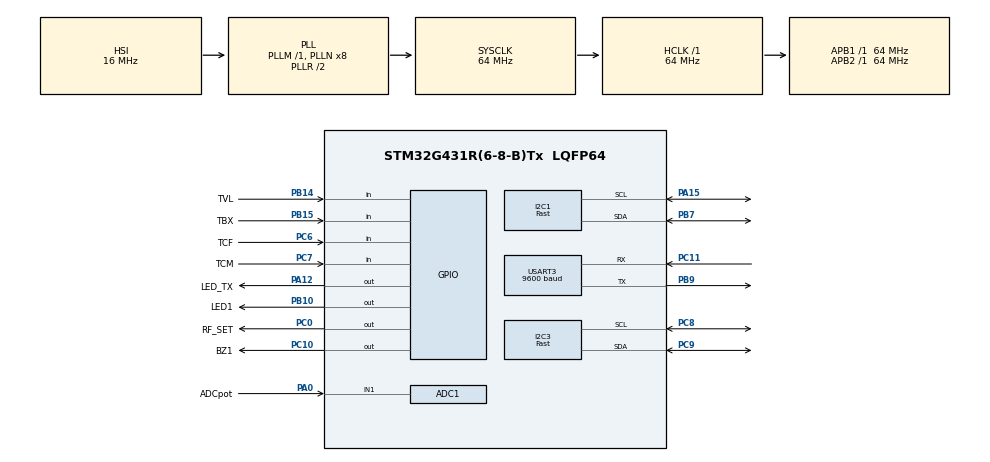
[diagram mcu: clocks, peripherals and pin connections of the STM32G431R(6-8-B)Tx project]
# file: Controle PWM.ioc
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ADC1.Channel-0\#ChannelRegularConversion=ADC_CHANNEL_1
ADC1.ContinuousConvMode=ENABLE
ADC1.DMAContinuousRequests=ENABLE
ADC1.EOCSelection=ADC_EOC_SEQ_CONV
ADC1.NbrOfConversion=1
ADC1.NbrOfConversionFlag=1
ADC1.OffsetNumber-0\#ChannelRegularConversion=ADC_OFFSET_NONE
ADC1.Rank-0\#ChannelRegularConversion=1
ADC1.SamplingTime-0\#ChannelRegularConversion=ADC_SAMPLETIME_247CYCLES_5
ADC1.master=1
Dma.ADC1.0.Direction=DMA_PERIPH_TO_MEMORY
Dma.ADC1.0.EventEnable=DISABLE
Dma.ADC1.0.Instance=DMA1_Channel1
Dma.ADC1.0.MemDataAlignment=DMA_MDATAALIGN_HALFWORD
Dma.ADC1.0.MemInc=DMA_MINC_ENABLE
Dma.ADC1.0.Mode=DMA_CIRCULAR
Dma.ADC1.0.PeriphDataAlignment=DMA_PDATAALIGN_HALFWORD
Dma.ADC1.0.PeriphInc=DMA_PINC_DISABLE
Dma.ADC1.0.Polarity=HAL_DMAMUX_REQ_GEN_RISING
Dma.ADC1.0.Priority=DMA_PRIORITY_LOW
Dma.ADC1.0.RequestNumber=1
Dma.ADC1.0.SignalID=NONE
Dma.ADC1.0.SyncEnable=DISABLE
Dma.ADC1.0.SyncPolarity=HAL_DMAMUX_SYNC_NO_EVENT
Dma.ADC1.0.SyncRequestNumber=1
Dma.ADC1.0.SyncSignalID=NONE
Dma.Request0=ADC1
I2C1.I2C_Speed_Mode=I2C_Fast
I2C1.Timing=0x00602173
I2C3.I2C_Speed_Mode=I2C_Fast
I2C3.Timing=0x00602173
Mcu.Family=STM32G4
Mcu.Name=STM32G431R(6-8-B)Tx
Mcu.Package=LQFP64
NVIC.DMA1_Channel1_IRQn=true\:0\:0\:false\:false\:true\:false\:true\:true
NVIC.PriorityGroup=NVIC_PRIORITYGROUP_4
NVIC.TIM3_IRQn=true\:2\:0\:true\:false\:true\:true\:true\:true
NVIC.USART3_IRQn=true\:0\:0\:false\:false\:true\:true\:true\:true
PA0.GPIO_Label=ADCpot
PA0.Mode=IN1-Single-Ended
PA0.Signal=ADC1_IN1
PA12.GPIO_Label=LED_TX
PA12.GPIO_Speed=GPIO_SPEED_FREQ_VERY_HIGH
PA12.PinState=GPIO_PIN_SET
PA12.Signal=GPIO_Output
PA13.Mode=Serial_Wire
PA13.Signal=SYS_JTMS-SWDIO
PA14.Mode=Serial_Wire
PA14.Signal=SYS_JTCK-SWCLK
PA15.Mode=I2C
PA15.Signal=I2C1_SCL
PB10.GPIO_Label=LED1
PB10.GPIO_ModeDefaultOutputPP=GPIO_MODE_OUTPUT_OD
PB10.GPIO_PuPd=GPIO_NOPULL
PB10.GPIO_Speed=GPIO_SPEED_FREQ_HIGH
PB10.Signal=GPIO_Output
PB10.Stacked=true
PB14.GPIO_Label=TVL
PB14.GPIO_PuPd=GPIO_PULLUP
PB14.Signal=GPIO_Input
PB15.GPIO_Label=TBX
PB15.GPIO_PuPd=GPIO_PULLUP
PB15.Signal=GPIO_Input
PB7.Mode=I2C
PB7.Signal=I2C1_SDA
PB9.Mode=Asynchronous
PB9.Signal=USART3_TX
PC0.GPIO_Label=RF_SET
PC0.Signal=GPIO_Output
PC10.GPIO_Label=BZ1
PC10.GPIO_Speed=GPIO_SPEED_FREQ_VERY_HIGH
PC10.Signal=GPIO_Output
PC11.Mode=Asynchronous
PC11.Signal=USART3_RX
PC6.GPIO_Label=TCF
PC6.GPIO_PuPd=GPIO_PULLUP
PC6.Signal=GPIO_Input
PC7.GPIO_Label=TCM
PC7.GPIO_PuPd=GPIO_PULLUP
PC7.Signal=GPIO_Input
PC8.Mode=I2C
PC8.Signal=I2C3_SCL
PC9.Mode=I2C
PC9.Signal=I2C3_SDA
ProjectManager.HeapSize=0x200
ProjectManager.StackSize=0x600
ProjectManager.TargetToolchain=STM32CubeIDE
RCC.ADC12Freq_Value=64000000
RCC.AHBFreq_Value=64000000
RCC.APB1Freq_Value=64000000
RCC.APB1TimFreq_Value=64000000
RCC.APB2Freq_Value=64000000
RCC.APB2TimFreq_Value=64000000
RCC.CortexFreq_Value=64000000
RCC.EXTERNAL_CLOCK_VALUE=12288000
RCC.HCLKFreq_Value=64000000
RCC.HSE_VALUE=8000000
RCC.HSI48_VALUE=48000000
RCC.HSI_VALUE=16000000
RCC.RCC_MCO1Source=RCC_MCO1SOURCE_LSE
RCC.SYSCLKFreq_VALUE=64000000
RCC.SYSCLKSource=RCC_SYSCLKSOURCE_PLLCLK
RCC.USBFreq_Value=64000000
RCC.VCOOutputFreq_Value=128000000
TIM3.PeriodNoDither=239
TIM3.Prescaler=199
USART3.BaudRate=9600
USART3.VirtualMode-Asynchronous=VM_ASYNC
VP_SYS_VS_DBSignals.Mode=DisableDeadBatterySignals
VP_TIM3_VS_ClockSourceINT.Mode=Internal
board=custom

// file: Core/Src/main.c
/* USER CODE BEGIN Header */
/**
  ******************************************************************************
  * @file           : main.c
  * @brief          : Main program body
  ******************************************************************************
  * @attention
  *
  * Copyright (c) 2024 STMicroelectronics.
  * All rights reserved.
  *
  * This software is licensed under terms that can be found in the LICENSE file
  * in the root directory of this software component.
  * If no LICENSE file comes with this software, it is provided AS-IS.
  *
  ******************************************************************************
  */
/* USER CODE END Header */
#include "main.h"

/* USER CODE BEGIN Includes */
#include <stdint.h>
#include <stdio.h>
#include <string.h>
#include <OLED_Fonts.h>
#include <OLED_Icons.h>
#include <OLED.h>
#include <eeprom.h>
/* USER CODE END Includes */

/* USER CODE BEGIN PD */
#define NUMAMOSTRAS 50
#define ADREF 4095
/* USER CODE END PD */

ADC_HandleTypeDef hadc1;
DMA_HandleTypeDef hdma_adc1;

I2C_HandleTypeDef hi2c1;
I2C_HandleTypeDef hi2c3;

TIM_HandleTypeDef htim3;

UART_HandleTypeDef huart3;

/* USER CODE BEGIN PV */

/**********************************************************************************/
/*          ESTRUTURAS DE CONSTANTES PARA IDENTIFICAÇÃO DE TECLAS                 */
/**********************************************************************************/
typedef enum{
	OK = 1,
	BCK,
	UP,
	DW,
}tecla;

/*---------UINT8_T---------*/
uint8_t sentido,
/*----*/flagADC,
/*----*/flagUART,
/*----*/uartvpot,
/*----*/uartvpot_old,
/*----*/flagtransmit,
/*----*/flag_com[4] = {0},
/*----*/initp = 0,
/*----*/pacote_completo,
/*----*/rx_init,
/*----*/remote,
/*----*/byte_cont,
/*----*/power,
/*----*/potencia,
/*----*/pacote_completo,
/*----*/cmd_completo,
/*----*/flag_bt,
/*----*/deboucing,
/*----*/flagespera = 0;

/*---------UINT16_T---------*/
uint16_t register_cont,
/*-----*/adc_buffer[50] = {0},
/*-----*/timer_teste[4] = {0},
/*-----*/cont[8] = {0};

/*---------UINT32_T---------*/
/*uint32_t analog_pot = 0;*/ /*VIROU VAR LOCAL*/

/*---------CHAR----------*/
char data_rx_buff[50];
char rcv_byte;
char stt;
/* USER CODE END PV */

void SystemClock_Config(void);
static void MX_GPIO_Init(void);
static void MX_DMA_Init(void);
static void MX_I2C3_Init(void);
static void MX_TIM3_Init(void);
static void MX_USART3_UART_Init(void);
static void MX_I2C1_Init(void);
static void MX_ADC1_Init(void);
void trata_teclas(void);
void trata_tela(void);
void beep(void);
uint8_t mediaADC(uint32_t n);
void transmite_UART(void);
void initdisp(void);
void init_VARS(void);
void trata_rx(void);

/* USER CODE BEGIN 0 */
void HAL_ADC_ConvCpltCallback(ADC_HandleTypeDef* hadc){
	flagADC = 1;												//QUANDO ACABAR UMA CONVERSÃO A A INTERRUPÇÃO IR�? DIRECIONAR PARA ESSE CALLBACK
}
void HAL_UART_RxCpltCallback(UART_HandleTypeDef *huart){
	if(huart->Instance == USART3) {
		if(rcv_byte == '(' || rcv_byte == '['){					/**VERIFICA PRIMEIRO BYTE RECEBIDO, SE É OU NOA DE UM PACOTE PADRÃO**/
			rx_init = 1;
			byte_cont = 0;
			memset(data_rx_buff, 0x00, sizeof(data_rx_buff));
		}
		if(rcv_byte == ')'){									/*VERIFICA SE CHEGOU AO FIM DO PACOTE*/
			pacote_completo = 1;
		}
		if(rcv_byte == ']'){									/*VERIFICA SE CHEGOU AO FIM DO PACOTE*/
			cmd_completo = 1;
		}
		if(byte_cont >= 45)										/*VERIFICA SE O PACOTE PASSOU DO LIMITE ESPERADO*/
			byte_cont = 45;

		if(rx_init)												/*SE O PACOTE É VALIDO, ALOCA OS BITS NO BUFFER*/
		{
			data_rx_buff[byte_cont] = rcv_byte;
			byte_cont++;

			if(rcv_byte == ')' || rcv_byte == ']')				/*SE O PACOTE TERMINOU RESETA A VAR DO INDEXADOR DO BUFFER*/
				rx_init = 0;
		}
		/*TRIGGER RX*/
		if(!pacote_completo || !cmd_completo){
			HAL_UART_Receive_IT(&huart3, (uint8_t*)&rcv_byte, sizeof(rcv_byte));	/*RECEBE UM BYTE*/
		}
	}
}
void HAL_TIM_PeriodElapsedCallback(TIM_HandleTypeDef * htim){//ENDEREÇO DE HTIM COMO PARAMETRO
	if(htim->Instance == TIM3){
		timer_teste[0]++;
		cont[0]++;
		if(flag_com[0])cont[6]++;
		if(timer_teste[0]>=250){
			//HAL_GPIO_TogglePin(LED_GPIO_Port, LED_Pin);
			HAL_GPIO_TogglePin(LED1_GPIO_Port, LED1_Pin);
			timer_teste[0] = 0;
		}
		if(cont[0]>=1500 && !flagUART){
			flagtransmit = 1;
			cont[0] = 0;
		}
		if(cont[6]>2500){
			cont[6] = 0;
			flag_com[0] = 0;
		}
	}
}
void trata_teclas(void){
	/**********************************************************************************/
	/*                           TRATA EVENTO TECLA CONF                              */
	/**********************************************************************************/
	if(!HAL_GPIO_ReadPin(TCF_GPIO_Port, TCF_Pin)){
		deboucing = 50;										//CONTADOR DEBOUCING
		cont[2]=0x00;
		while(deboucing>0){
			deboucing--;									//DECREMENTO DO DEBOUCING
		}
		if(!flagespera)
			flag_bt = OK;									//SETA FLAG DE BOTÃO ACIONADO
	}
	if(flag_bt == OK)beep();
	/**********************************************************************************/
	/*                              TRATA TECLA CONF                                  */
	/**********************************************************************************/

	/**********************************************************************************/
	/*                           TRATA EVENTO TECLA VOLTA                             */
	/**********************************************************************************/
	if(!HAL_GPIO_ReadPin(TVL_GPIO_Port, TVL_Pin)){
		deboucing = 50;							//CONTADOR DEBOUCING
		cont[2]=0x00;
		while(deboucing>0){
			deboucing--;						//DECREMENTO DO DEBOUCING
		}
		if(!flagespera)
			flag_bt = BCK;							//SETA FLAG DE BOTÃO ACIONADO
	}
	if(flag_bt == BCK)beep();
	/**********************************************************************************/
	/*                               TRATA TECLA VOLTA                                */
	/**********************************************************************************/
	if(flag_bt==BCK){
		flag_bt = 0;
		flagUART = 1;
		stt = 'D';
		transmite_UART();
		flagUART = 0;
	}

	/**********************************************************************************/
	/*                           TRATA EVENTO TECLA CIMA                              */
	/**********************************************************************************/
	if(!HAL_GPIO_ReadPin(TCM_GPIO_Port, TCM_Pin)){
		deboucing = 50;												//CONTADOR DEBOUCING
		cont[2]=0x00;
		while(deboucing>0){
			deboucing--;											//DECREMENTO DO DEBOUCING
		}
		if(!flagespera)
			flag_bt = UP;												//SETA FLAG DE BOTÃO ACIONADO
	}
	if(flag_bt==UP)beep();
	/**********************************************************************************/
	/*                              TRATA TECLA CIMA                                  */
	/**********************************************************************************/
	if(flag_bt==UP){
		flag_bt = 0;
		flagUART = 1;
		stt = 'H';
		transmite_UART();
		trata_tela();
		while(!HAL_GPIO_ReadPin(TCM_GPIO_Port, TCM_Pin)){				//SEGURA O PROGRAMA ENQUANTO O BOTÃO
				//asm("nop");												//CONTINUAR PRESSIONADO
		}
		stt = 'D';
		transmite_UART();
		flagUART = 0;
	}
	/**********************************************************************************/
	/*                           TRATA EVENTO TECLA BAIXO                             */
	/**********************************************************************************/
	if(!HAL_GPIO_ReadPin(TBX_GPIO_Port, TBX_Pin)){
		deboucing = 50;							//CONTADOR DEBOUCING
		cont[2]=0x00;
		while(deboucing>0){
			deboucing--;						//DECREMENTO DO DEBOUCING
		}
		if(!flagespera)
			flag_bt = DW;							//SETA FLAG DE BOTÃO ACIONADO
	}
	if(flag_bt==DW)beep();
	/**********************************************************************************/
	/*                               TRATA TECLA BAIXO                                */
	/**********************************************************************************/
	if(flag_bt==DW){
		flag_bt = 0;
		flagUART = 1;
		stt = 'A';
		transmite_UART();
		trata_tela();
		while(!HAL_GPIO_ReadPin(TBX_GPIO_Port, TBX_Pin)){	//SEGURA O PROGRAMA ENQUANTO O BOTÃO
			//asm("nop");								//CONTINUAR PRESSIONADO
		}
		stt = 'D';
		transmite_UART();
		flagUART = 0;
	}
}
void trata_tela(void){
	char temp[4] = "00%";

	OLED_Clear(0);
	FontSet(Lucida_12);
	OLED_DrawStr("SENTIDO:", CENTER, 0, 1);
	if(stt == 'H'){
		FontSet(Lucida_12);
		OLED_DrawStr("HORARIO", CENTER, 16, 1);
	}
	if(stt == 'A'){
		FontSet(Lucida_12);
		OLED_DrawStr("ANTI-HORARIO", CENTER, 16, 1);
	}
	if(stt == 'D'){
		FontSet(Lucida_12);
		OLED_DrawStr("DESLIGADO", CENTER, 16, 1);
	}
	FontSet(Lucida_12);
	OLED_DrawStr("VELOCIDADE:", CENTER, 33, 1);
	sprintf(temp,"%2d%%", uartvpot);
	OLED_DrawStr(temp, CENTER, 49, 1);
	OLED_UpdateScreen();
}
void beep(void){
		HAL_GPIO_WritePin(BZ1_GPIO_Port, BZ1_Pin, GPIO_PIN_SET);
		HAL_Delay(25);
		HAL_GPIO_WritePin(BZ1_GPIO_Port, BZ1_Pin, GPIO_PIN_RESET);
}
uint8_t mediaADC(uint32_t n){
	uint32_t analog_pot = 0;
	uint8_t perc = 0;

	for(uint8_t i = 0; i<n; i++){			//FAZ A MEDIA DAS AMOSTRAS NO VETOR QUE O DMA ARMAZENA OS DADOS DO ADC
		analog_pot += adc_buffer[i];
	}

	analog_pot/=n;
	perc = (analog_pot*100)/ADREF;			//TIRAMOS A PORCENTAGEM DO AD.

	return perc;
}
void transmite_UART(void){
	char temp[16] = "[CPWM01,P=99,D]";
	uint8_t vpot = 0;

	vpot  = uartvpot;
	sprintf(temp,"[CPWM01,P=%2d,%c]", vpot, stt);
	HAL_GPIO_TogglePin(LED_TX_GPIO_Port, LED_TX_Pin);
	HAL_UART_Transmit(&huart3, (uint8_t*)&temp, sizeof(temp), HAL_MAX_DELAY);
	HAL_UART_Receive_IT(&huart3, (uint8_t*)&rcv_byte, sizeof(rcv_byte));
	HAL_Delay(50);
	//trata_rx();
}
void initdisp(void){
	OLED_Clear(0);
	OLED_DrawXBM(0 , 0, logov2);/*LOGO AUTOBAN*/
	OLED_UpdateScreen();
	HAL_Delay(3500);
	OLED_Clear(0);
	OLED_UpdateScreen();
}
void init_VARS(void){
	stt = 'D';
}
void trata_rx(void){
	if(data_rx_buff[1] != 'P' && data_rx_buff[2] != 'W' && data_rx_buff[3] != 'M' && data_rx_buff[4] != '-' && data_rx_buff[5] != 'O' && data_rx_buff[6] != 'K'){
		flag_com[0] = 1;
	}
	else
		flag_com[0] = 0;
}
/* USER CODE END 0 */

int main(void)
{

  /* MCU Configuration--------------------------------------------------------*/

  /* Reset of all peripherals, Initializes the Flash interface and the Systick. */

	HAL_Init();

  /* Configure the system clock */
  SystemClock_Config();

  /* Initialize all configured peripherals */
  MX_GPIO_Init();
  MX_DMA_Init();
  MX_I2C3_Init();
  MX_TIM3_Init();
  MX_USART3_UART_Init();
  MX_I2C1_Init();
  MX_ADC1_Init();
  /* USER CODE BEGIN 2 */
	/*CONFIGS PERIFERICOS*/
	HAL_TIM_Base_Start_IT(&htim3); //INCIA TIMER3 COM INTERRUPÇÃO NO OVERFLOW
	HAL_ADC_Start_DMA(&hadc1, (uint32_t*)adc_buffer, 50); /*INICIA O AD CO DMA NO MODO CIRCULAR*/
	HAL_Delay(500);
	/*CONFIG DISP*/
	OLED_Init(&hi2c3); //INICIANDO DISPLAY
	OLED_Clear(11);
	OLED_UpdateScreen();
	/*-----------*/
	/*CONFIGS EEPROM*/
	/*--------------*/
	/*INICIA AS VARIAVEIS DO SISTEMA*/
	initdisp(); //IMPRIMINDO O BITMAP
	init_VARS();
  /* USER CODE END 2 */

  /* Infinite loop */
  while (1)
  {

    /* USER CODE BEGIN 3 */
		if(flagADC){
			uartvpot = mediaADC(NUMAMOSTRAS);
			if(uartvpot>99)
				uartvpot=99;
			flagADC = 0;
		}
		/*if(cmd_completo){
			trata_rx();

		}*/
		trata_teclas();
		if(flag_com[0]){
			OLED_Clear(0);
			FontSet(Lucida_12);
			OLED_DrawStr("FALHA NA", CENTER, 0, 1);
			OLED_DrawStr("COMUNICACAO", CENTER, 16, 1);
			OLED_UpdateScreen();
		}
		else
			trata_tela();
  }
  /* USER CODE END 3 */
}

void SystemClock_Config(void)
{
  RCC_OscInitTypeDef RCC_OscInitStruct = {0};
  RCC_ClkInitTypeDef RCC_ClkInitStruct = {0};

  /** Configure the main internal regulator output voltage
  */
  HAL_PWREx_ControlVoltageScaling(PWR_REGULATOR_VOLTAGE_SCALE1);

  /** Initializes the RCC Oscillators according to the specified parameters
  * in the RCC_OscInitTypeDef structure.
  */
  RCC_OscInitStruct.OscillatorType = RCC_OSCILLATORTYPE_HSI;
  RCC_OscInitStruct.HSIState = RCC_HSI_ON;
  RCC_OscInitStruct.HSICalibrationValue = RCC_HSICALIBRATION_DEFAULT;
  RCC_OscInitStruct.PLL.PLLState = RCC_PLL_ON;
  RCC_OscInitStruct.PLL.PLLSource = RCC_PLLSOURCE_HSI;
  RCC_OscInitStruct.PLL.PLLM = RCC_PLLM_DIV1;
  RCC_OscInitStruct.PLL.PLLN = 8;
  RCC_OscInitStruct.PLL.PLLP = RCC_PLLP_DIV2;
  RCC_OscInitStruct.PLL.PLLQ = RCC_PLLQ_DIV2;
  RCC_OscInitStruct.PLL.PLLR = RCC_PLLR_DIV2;
  if (HAL_RCC_OscConfig(&RCC_OscInitStruct) != HAL_OK)
  {
    Error_Handler();
  }

  /** Initializes the CPU, AHB and APB buses clocks
  */
  RCC_ClkInitStruct.ClockType = RCC_CLOCKTYPE_HCLK|RCC_CLOCKTYPE_SYSCLK
                              |RCC_CLOCKTYPE_PCLK1|RCC_CLOCKTYPE_PCLK2;
  RCC_ClkInitStruct.SYSCLKSource = RCC_SYSCLKSOURCE_PLLCLK;
  RCC_ClkInitStruct.AHBCLKDivider = RCC_SYSCLK_DIV1;
  RCC_ClkInitStruct.APB1CLKDivider = RCC_HCLK_DIV1;
  RCC_ClkInitStruct.APB2CLKDivider = RCC_HCLK_DIV1;

  if (HAL_RCC_ClockConfig(&RCC_ClkInitStruct, FLASH_LATENCY_2) != HAL_OK)
  {
    Error_Handler();
  }
}

static void MX_ADC1_Init(void)
{

  ADC_MultiModeTypeDef multimode = {0};
  ADC_ChannelConfTypeDef sConfig = {0};

  /** Common config
  */
  hadc1.Instance = ADC1;
  hadc1.Init.ClockPrescaler = ADC_CLOCK_SYNC_PCLK_DIV2;
  hadc1.Init.Resolution = ADC_RESOLUTION_12B;
  hadc1.Init.DataAlign = ADC_DATAALIGN_RIGHT;
  hadc1.Init.GainCompensation = 0;
  hadc1.Init.ScanConvMode = ADC_SCAN_DISABLE;
  hadc1.Init.EOCSelection = ADC_EOC_SEQ_CONV;
  hadc1.Init.LowPowerAutoWait = DISABLE;
  hadc1.Init.ContinuousConvMode = ENABLE;
  hadc1.Init.NbrOfConversion = 1;
  hadc1.Init.DiscontinuousConvMode = DISABLE;
  hadc1.Init.ExternalTrigConv = ADC_SOFTWARE_START;
  hadc1.Init.ExternalTrigConvEdge = ADC_EXTERNALTRIGCONVEDGE_NONE;
  hadc1.Init.DMAContinuousRequests = ENABLE;
  hadc1.Init.Overrun = ADC_OVR_DATA_PRESERVED;
  hadc1.Init.OversamplingMode = DISABLE;
  if (HAL_ADC_Init(&hadc1) != HAL_OK)
  {
    Error_Handler();
  }

  /** Configure the ADC multi-mode
  */
  multimode.Mode = ADC_MODE_INDEPENDENT;
  if (HAL_ADCEx_MultiModeConfigChannel(&hadc1, &multimode) != HAL_OK)
  {
    Error_Handler();
  }

  /** Configure Regular Channel
  */
  sConfig.Channel = ADC_CHANNEL_1;
  sConfig.Rank = ADC_REGULAR_RANK_1;
  sConfig.SamplingTime = ADC_SAMPLETIME_247CYCLES_5;
  sConfig.SingleDiff = ADC_SINGLE_ENDED;
  sConfig.OffsetNumber = ADC_OFFSET_NONE;
  sConfig.Offset = 0;
  if (HAL_ADC_ConfigChannel(&hadc1, &sConfig) != HAL_OK)
  {
    Error_Handler();
  }

}

static void MX_I2C1_Init(void)
{

  hi2c1.Instance = I2C1;
  hi2c1.Init.Timing = 0x00602173;
  hi2c1.Init.OwnAddress1 = 0;
  hi2c1.Init.AddressingMode = I2C_ADDRESSINGMODE_7BIT;
  hi2c1.Init.DualAddressMode = I2C_DUALADDRESS_DISABLE;
  hi2c1.Init.OwnAddress2 = 0;
  hi2c1.Init.OwnAddress2Masks = I2C_OA2_NOMASK;
  hi2c1.Init.GeneralCallMode = I2C_GENERALCALL_DISABLE;
  hi2c1.Init.NoStretchMode = I2C_NOSTRETCH_DISABLE;
  if (HAL_I2C_Init(&hi2c1) != HAL_OK)
  {
    Error_Handler();
  }

  /** Configure Analogue filter
  */
  if (HAL_I2CEx_ConfigAnalogFilter(&hi2c1, I2C_ANALOGFILTER_ENABLE) != HAL_OK)
  {
    Error_Handler();
  }

  /** Configure Digital filter
  */
  if (HAL_I2CEx_ConfigDigitalFilter(&hi2c1, 0) != HAL_OK)
  {
    Error_Handler();
  }

}

static void MX_I2C3_Init(void)
{

  hi2c3.Instance = I2C3;
  hi2c3.Init.Timing = 0x00602173;
  hi2c3.Init.OwnAddress1 = 0;
  hi2c3.Init.AddressingMode = I2C_ADDRESSINGMODE_7BIT;
  hi2c3.Init.DualAddressMode = I2C_DUALADDRESS_DISABLE;
  hi2c3.Init.OwnAddress2 = 0;
  hi2c3.Init.OwnAddress2Masks = I2C_OA2_NOMASK;
  hi2c3.Init.GeneralCallMode = I2C_GENERALCALL_DISABLE;
  hi2c3.Init.NoStretchMode = I2C_NOSTRETCH_DISABLE;
  if (HAL_I2C_Init(&hi2c3) != HAL_OK)
  {
    Error_Handler();
  }

  /** Configure Analogue filter
  */
  if (HAL_I2CEx_ConfigAnalogFilter(&hi2c3, I2C_ANALOGFILTER_ENABLE) != HAL_OK)
  {
    Error_Handler();
  }

  /** Configure Digital filter
  */
  if (HAL_I2CEx_ConfigDigitalFilter(&hi2c3, 0) != HAL_OK)
  {
    Error_Handler();
  }

}

static void MX_TIM3_Init(void)
{

  TIM_ClockConfigTypeDef sClockSourceConfig = {0};
  TIM_MasterConfigTypeDef sMasterConfig = {0};

  htim3.Instance = TIM3;
  htim3.Init.Prescaler = 199;
  htim3.Init.CounterMode = TIM_COUNTERMODE_UP;
  htim3.Init.Period = 239;
  htim3.Init.ClockDivision = TIM_CLOCKDIVISION_DIV1;
  htim3.Init.AutoReloadPreload = TIM_AUTORELOAD_PRELOAD_DISABLE;
  if (HAL_TIM_Base_Init(&htim3) != HAL_OK)
  {
    Error_Handler();
  }
  sClockSourceConfig.ClockSource = TIM_CLOCKSOURCE_INTERNAL;
  if (HAL_TIM_ConfigClockSource(&htim3, &sClockSourceConfig) != HAL_OK)
  {
    Error_Handler();
  }
  sMasterConfig.MasterOutputTrigger = TIM_TRGO_RESET;
  sMasterConfig.MasterSlaveMode = TIM_MASTERSLAVEMODE_DISABLE;
  if (HAL_TIMEx_MasterConfigSynchronization(&htim3, &sMasterConfig) != HAL_OK)
  {
    Error_Handler();
  }

}

static void MX_USART3_UART_Init(void)
{

  huart3.Instance = USART3;
  huart3.Init.BaudRate = 9600;
  huart3.Init.WordLength = UART_WORDLENGTH_8B;
  huart3.Init.StopBits = UART_STOPBITS_1;
  huart3.Init.Parity = UART_PARITY_NONE;
  huart3.Init.Mode = UART_MODE_TX_RX;
  huart3.Init.HwFlowCtl = UART_HWCONTROL_NONE;
  huart3.Init.OverSampling = UART_OVERSAMPLING_16;
  huart3.Init.OneBitSampling = UART_ONE_BIT_SAMPLE_DISABLE;
  huart3.Init.ClockPrescaler = UART_PRESCALER_DIV1;
  huart3.AdvancedInit.AdvFeatureInit = UART_ADVFEATURE_NO_INIT;
  if (HAL_UART_Init(&huart3) != HAL_OK)
  {
    Error_Handler();
  }
  if (HAL_UARTEx_SetTxFifoThreshold(&huart3, UART_TXFIFO_THRESHOLD_1_8) != HAL_OK)
  {
    Error_Handler();
  }
  if (HAL_UARTEx_SetRxFifoThreshold(&huart3, UART_RXFIFO_THRESHOLD_1_8) != HAL_OK)
  {
    Error_Handler();
  }
  if (HAL_UARTEx_DisableFifoMode(&huart3) != HAL_OK)
  {
    Error_Handler();
  }

}

static void MX_DMA_Init(void)
{

  /* DMA controller clock enable */
  __HAL_RCC_DMAMUX1_CLK_ENABLE();
  __HAL_RCC_DMA1_CLK_ENABLE();

  /* DMA interrupt init */
  /* DMA1_Channel1_IRQn interrupt configuration */
  HAL_NVIC_SetPriority(DMA1_Channel1_IRQn, 0, 0);
  HAL_NVIC_EnableIRQ(DMA1_Channel1_IRQn);

}

static void MX_GPIO_Init(void)
{
  GPIO_InitTypeDef GPIO_InitStruct = {0};

  /* GPIO Ports Clock Enable */
  __HAL_RCC_GPIOC_CLK_ENABLE();
  __HAL_RCC_GPIOA_CLK_ENABLE();
  __HAL_RCC_GPIOB_CLK_ENABLE();

  /*Configure GPIO pin Output Level */
  HAL_GPIO_WritePin(GPIOC, RF_SET_Pin|BZ1_Pin, GPIO_PIN_RESET);

  /*Configure GPIO pin Output Level */
  HAL_GPIO_WritePin(LED1_GPIO_Port, LED1_Pin, GPIO_PIN_RESET);

  /*Configure GPIO pin Output Level */
  HAL_GPIO_WritePin(LED_TX_GPIO_Port, LED_TX_Pin, GPIO_PIN_SET);

  /*Configure GPIO pin : RF_SET_Pin */
  GPIO_InitStruct.Pin = RF_SET_Pin;
  GPIO_InitStruct.Mode = GPIO_MODE_OUTPUT_PP;
  GPIO_InitStruct.Pull = GPIO_NOPULL;
  GPIO_InitStruct.Speed = GPIO_SPEED_FREQ_LOW;
  HAL_GPIO_Init(RF_SET_GPIO_Port, &GPIO_InitStruct);

  /*Configure GPIO pin : LED1_Pin */
  GPIO_InitStruct.Pin = LED1_Pin;
  GPIO_InitStruct.Mode = GPIO_MODE_OUTPUT_OD;
  GPIO_InitStruct.Pull = GPIO_NOPULL;
  GPIO_InitStruct.Speed = GPIO_SPEED_FREQ_HIGH;
  HAL_GPIO_Init(LED1_GPIO_Port, &GPIO_InitStruct);

  /*Configure GPIO pins : TVL_Pin TBX_Pin */
  GPIO_InitStruct.Pin = TVL_Pin|TBX_Pin;
  GPIO_InitStruct.Mode = GPIO_MODE_INPUT;
  GPIO_InitStruct.Pull = GPIO_PULLUP;
  HAL_GPIO_Init(GPIOB, &GPIO_InitStruct);

  /*Configure GPIO pins : TCF_Pin TCM_Pin */
  GPIO_InitStruct.Pin = TCF_Pin|TCM_Pin;
  GPIO_InitStruct.Mode = GPIO_MODE_INPUT;
  GPIO_InitStruct.Pull = GPIO_PULLUP;
  HAL_GPIO_Init(GPIOC, &GPIO_InitStruct);

  /*Configure GPIO pin : LED_TX_Pin */
  GPIO_InitStruct.Pin = LED_TX_Pin;
  GPIO_InitStruct.Mode = GPIO_MODE_OUTPUT_PP;
  GPIO_InitStruct.Pull = GPIO_NOPULL;
  GPIO_InitStruct.Speed = GPIO_SPEED_FREQ_VERY_HIGH;
  HAL_GPIO_Init(LED_TX_GPIO_Port, &GPIO_InitStruct);

  /*Configure GPIO pin : BZ1_Pin */
  GPIO_InitStruct.Pin = BZ1_Pin;
  GPIO_InitStruct.Mode = GPIO_MODE_OUTPUT_PP;
  GPIO_InitStruct.Pull = GPIO_NOPULL;
  GPIO_InitStruct.Speed = GPIO_SPEED_FREQ_VERY_HIGH;
  HAL_GPIO_Init(BZ1_GPIO_Port, &GPIO_InitStruct);

}

void Error_Handler(void)
{
  __disable_irq();
  while (1)
  {
  }
}
